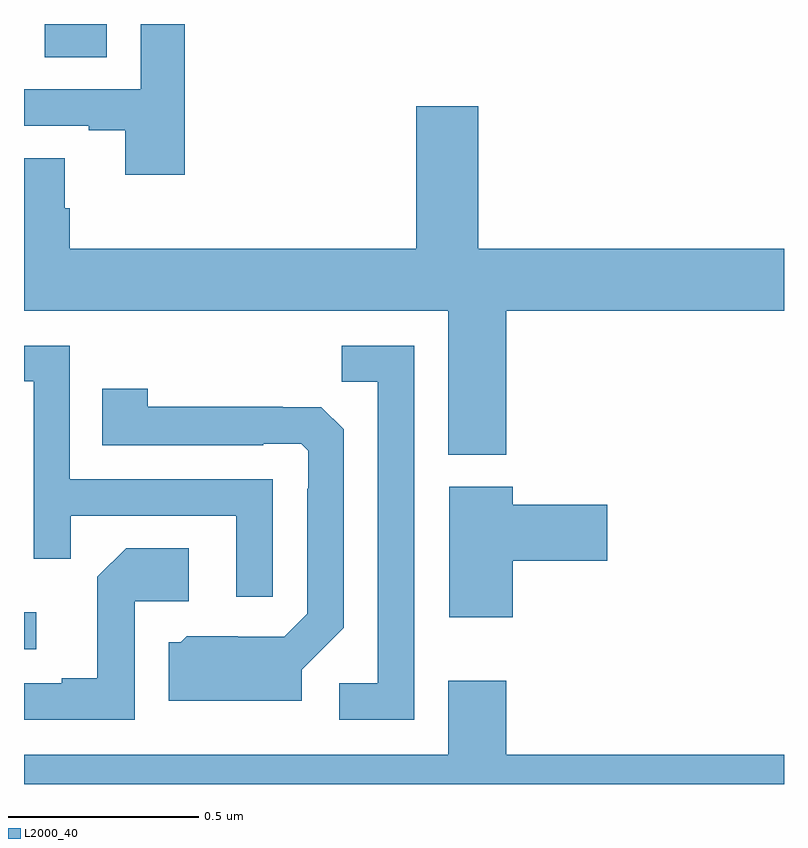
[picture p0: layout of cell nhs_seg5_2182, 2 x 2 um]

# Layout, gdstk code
import gdstk
lib = gdstk.Library(unit=1e-6, precision=1e-09)
def R(c, l, rs):  # rectangles x0, y0, x1, y1
    for r in rs: c.add(gdstk.rectangle(r[:2], r[2:], *l))
def P(c, l, *ps):  # polygons
    for p in ps: c.add(gdstk.Polygon(p, *l))
L2000_40 = (2000, 40)

nhs_seg5_2182 = lib.new_cell('nhs_seg5_2182')
R(nhs_seg5_2182, L2000_40, [(140,905.154,140.032,905.251), (140.054,906.712,140.218,906.799)])
P(nhs_seg5_2182, L2000_40, [(140.423,906.799),(140.307,906.799),(140.307,906.627),(140,906.627),(140,906.531),(140.171,906.531),(140.171,906.519),(140.267,906.519),(140.267,906.402),(140.423,906.402)],
  [(141.269,906.044),(142,906.044),(142,906.208),(141.196,906.208),(141.196,906.583),(141.032,906.583),(141.032,906.208),(140.12,906.208),(140.12,906.314),(140.107,906.314),(140.107,906.446),(140,906.446),(140,906.044),(141.116,906.044),(141.116,905.666),(141.269,905.666)],
  [(141.027,905.952),(140.836,905.952),(140.836,905.857),(140.931,905.857),(140.931,905.064),(140.829,905.064),(140.829,904.968),(141.027,904.968)],
  [(140.655,905.601),(140.121,905.601),(140.121,905.952),(140,905.952),(140,905.859),(140.025,905.859),(140.025,905.392),(140.123,905.392),(140.123,905.505),(140.559,905.505),(140.559,905.292),(140.655,905.292)],
  [(140.731,905.1),(140.841,905.21),(140.841,905.732),(140.782,905.791),(140.681,905.791),(140.681,905.792),(140.325,905.792),(140.325,905.839),(140.206,905.839),(140.206,905.691),(140.63,905.691),(140.63,905.694),(140.73,905.694),(140.748,905.676),(140.748,905.576),(140.745,905.576),(140.745,905.247),(140.685,905.187),(140.562,905.187),(140.562,905.188),(140.428,905.188),(140.412,905.172),(140.381,905.172),(140.381,905.018),(140.731,905.018)],
  [(141.286,905.387),(141.535,905.387),(141.535,905.534),(141.286,905.534),(141.286,905.581),(141.119,905.581),(141.119,905.238),(141.286,905.238)],
  [(140.292,905.28),(140.434,905.28),(140.434,905.42),(140.269,905.42),(140.193,905.344),(140.193,905.077),(140.099,905.077),(140.099,905.064),(140,905.064),(140,904.968),(140.292,904.968)],
  [(142,904.876),(141.269,904.876),(141.269,905.071),(141.116,905.071),(141.116,904.876),(140,904.876),(140,904.799),(142,904.799)])

lib.write_gds('nhs_seg5_2182.gds')
